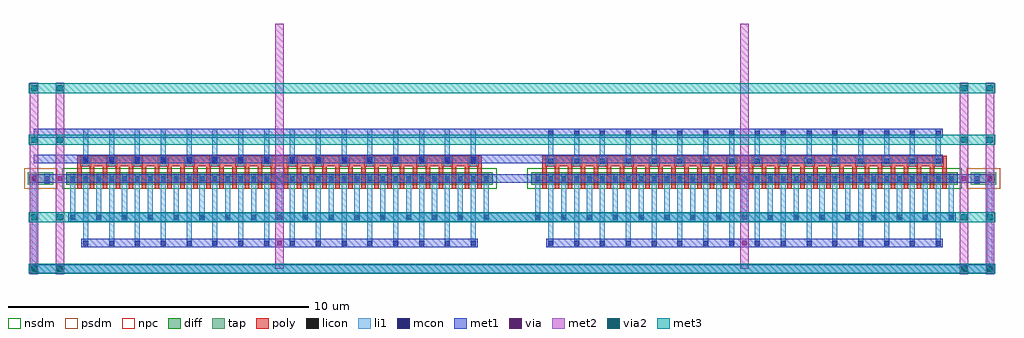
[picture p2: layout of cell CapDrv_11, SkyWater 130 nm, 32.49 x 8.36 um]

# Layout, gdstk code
from math import pi, radians
import gdstk
lib = gdstk.Library(unit=1e-6, precision=1e-09)
def R(c, l, rs):  # rectangles x0, y0, x1, y1
    for r in rs: c.add(gdstk.rectangle(r[:2], r[2:], *l))
def A(c, l, x, y, w, h, nx, ny, dx, dy):  # array of equal rectangles
    R(c, l, [(x+i*dx, y+j*dy, x+i*dx+w, y+j*dy+h) for i in range(nx) for j in range(ny)])
def P(c, l, *ps):  # polygons
    for p in ps: c.add(gdstk.Polygon(p, *l))
diff = (65, 20)
tap = (65, 44)
poly = (66, 20)
licon = (66, 44)
li1 = (67, 20)
mcon = (67, 44)
met1 = (68, 20)
via = (68, 44)
met2 = (69, 20)
via2 = (69, 44)
met3 = (70, 20)
nsdm = (93, 44)
psdm = (94, 20)
npc = (95, 20)

mosend_4 = lib.new_cell('MOSEnd_4')

mosend_14 = lib.new_cell('MOSEnd_14')

mostap = lib.new_cell('MOSTap')
R(mostap, tap, [(-0.205,0.655,0.635,1.075)])
R(mostap, licon, [(-0.085,0.78,0.085,0.95), (0.345,0.78,0.515,0.95)])
R(mostap, li1, [(-0.085,0.7,0.085,1.03), (0.345,0.7,0.515,1.03)])
R(mostap, psdm, [(-0.335,0.525,0.765,1.205)])

mosconn = lib.new_cell('MOSConn')
R(mosconn, diff, [(-0.215,0.655,13.975,1.075)])
A(mosconn, poly, 0.345, 0.115, 0.17, 0.33, 16, 1, 0.86, 0)
P(mosconn, poly, [(13.47,1.205),(13.47,0.455),(13.19,0.455),(13.19,1.205),(13.04,1.205),(13.04,0.455),(12.76,0.455),(12.76,1.205),(12.61,1.205),(12.61,0.455),(12.33,0.455),(12.33,1.205),(12.18,1.205),(12.18,0.455),(11.9,0.455),(11.9,1.205),(11.75,1.205),(11.75,0.455),(11.47,0.455),(11.47,1.205),(11.32,1.205),(11.32,0.455),(11.04,0.455),(11.04,1.205),(10.89,1.205),(10.89,0.455),(10.61,0.455),(10.61,1.205),(10.46,1.205),(10.46,0.455),(10.18,0.455),(10.18,1.205),(10.03,1.205),(10.03,0.455),(9.75,0.455),(9.75,1.205),(9.6,1.205),(9.6,0.455),(9.32,0.455),(9.32,1.205),(9.17,1.205),(9.17,0.455),(8.89,0.455),(8.89,1.205),(8.74,1.205),(8.74,0.455),(8.46,0.455),(8.46,1.205),(8.31,1.205),(8.31,0.455),(8.03,0.455),(8.03,1.205),(7.88,1.205),(7.88,0.455),(7.6,0.455),(7.6,1.205),(7.45,1.205),(7.45,0.455),(7.17,0.455),(7.17,1.205),(7.02,1.205),(7.02,0.455),(6.74,0.455),(6.74,1.205),(6.59,1.205),(6.59,0.455),(6.31,0.455),(6.31,1.205),(6.16,1.205),(6.16,0.455),(5.88,0.455),(5.88,1.205),(5.73,1.205),(5.73,0.455),(5.45,0.455),(5.45,1.205),(5.3,1.205),(5.3,0.455),(5.02,0.455),(5.02,1.205),(4.87,1.205),(4.87,0.455),(4.59,0.455),(4.59,1.205),(4.44,1.205),(4.44,0.455),(4.16,0.455),(4.16,1.205),(4.01,1.205),(4.01,0.455),(3.73,0.455),(3.73,1.205),(3.58,1.205),(3.58,0.455),(3.3,0.455),(3.3,1.205),(3.15,1.205),(3.15,0.455),(2.87,0.455),(2.87,1.205),(2.72,1.205),(2.72,0.455),(2.44,0.455),(2.44,1.205),(2.29,1.205),(2.29,0.455),(2.01,0.455),(2.01,1.205),(1.86,1.205),(1.86,0.455),(1.58,0.455),(1.58,1.205),(1.43,1.205),(1.43,0.455),(1.15,0.455),(1.15,1.205),(1,1.205),(1,0.455),(0.72,0.455),(0.72,1.205),(0.57,1.205),(0.57,0.455),(0.29,0.455),(0.29,1.205),(0.14,1.205),(0.14,0.105),(13.62,0.105),(13.62,1.205)])
A(mosconn, licon, 0.345, 0.195, 0.17, 0.17, 16, 1, 0.86, 0)
A(mosconn, licon, -0.085, 0.78, 0.17, 0.17, 33, 1, 0.43, 0)
A(mosconn, li1, 0.29, 0.145, 0.28, 0.27, 16, 1, 0.86, 0)
A(mosconn, li1, -0.085, 0.7, 0.17, 0.33, 33, 1, 0.43, 0)
P(mosconn, li1, [(0.345,0.445),(0.345,0.415),(0.29,0.415),(0.29,0.145),(0.345,0.145),(0.345,0.115),(0.515,0.115),(0.515,0.145),(0.57,0.145),(0.57,0.415),(0.515,0.415),(0.515,0.445)],
  [(1.205,0.445),(1.205,0.415),(1.15,0.415),(1.15,0.145),(1.205,0.145),(1.205,0.115),(1.375,0.115),(1.375,0.145),(1.43,0.145),(1.43,0.415),(1.375,0.415),(1.375,0.445)],
  [(2.065,0.445),(2.065,0.415),(2.01,0.415),(2.01,0.145),(2.065,0.145),(2.065,0.115),(2.235,0.115),(2.235,0.145),(2.29,0.145),(2.29,0.415),(2.235,0.415),(2.235,0.445)],
  [(2.925,0.445),(2.925,0.415),(2.87,0.415),(2.87,0.145),(2.925,0.145),(2.925,0.115),(3.095,0.115),(3.095,0.145),(3.15,0.145),(3.15,0.415),(3.095,0.415),(3.095,0.445)],
  [(3.785,0.445),(3.785,0.415),(3.73,0.415),(3.73,0.145),(3.785,0.145),(3.785,0.115),(3.955,0.115),(3.955,0.145),(4.01,0.145),(4.01,0.415),(3.955,0.415),(3.955,0.445)],
  [(4.645,0.445),(4.645,0.415),(4.59,0.415),(4.59,0.145),(4.645,0.145),(4.645,0.115),(4.815,0.115),(4.815,0.145),(4.87,0.145),(4.87,0.415),(4.815,0.415),(4.815,0.445)],
  [(5.505,0.445),(5.505,0.415),(5.45,0.415),(5.45,0.145),(5.505,0.145),(5.505,0.115),(5.675,0.115),(5.675,0.145),(5.73,0.145),(5.73,0.415),(5.675,0.415),(5.675,0.445)],
  [(6.365,0.445),(6.365,0.415),(6.31,0.415),(6.31,0.145),(6.365,0.145),(6.365,0.115),(6.535,0.115),(6.535,0.145),(6.59,0.145),(6.59,0.415),(6.535,0.415),(6.535,0.445)],
  [(7.225,0.445),(7.225,0.415),(7.17,0.415),(7.17,0.145),(7.225,0.145),(7.225,0.115),(7.395,0.115),(7.395,0.145),(7.45,0.145),(7.45,0.415),(7.395,0.415),(7.395,0.445)],
  [(8.085,0.445),(8.085,0.415),(8.03,0.415),(8.03,0.145),(8.085,0.145),(8.085,0.115),(8.255,0.115),(8.255,0.145),(8.31,0.145),(8.31,0.415),(8.255,0.415),(8.255,0.445)],
  [(8.945,0.445),(8.945,0.415),(8.89,0.415),(8.89,0.145),(8.945,0.145),(8.945,0.115),(9.115,0.115),(9.115,0.145),(9.17,0.145),(9.17,0.415),(9.115,0.415),(9.115,0.445)],
  [(9.805,0.445),(9.805,0.415),(9.75,0.415),(9.75,0.145),(9.805,0.145),(9.805,0.115),(9.975,0.115),(9.975,0.145),(10.03,0.145),(10.03,0.415),(9.975,0.415),(9.975,0.445)],
  [(10.665,0.445),(10.665,0.415),(10.61,0.415),(10.61,0.145),(10.665,0.145),(10.665,0.115),(10.835,0.115),(10.835,0.145),(10.89,0.145),(10.89,0.415),(10.835,0.415),(10.835,0.445)],
  [(11.525,0.445),(11.525,0.415),(11.47,0.415),(11.47,0.145),(11.525,0.145),(11.525,0.115),(11.695,0.115),(11.695,0.145),(11.75,0.145),(11.75,0.415),(11.695,0.415),(11.695,0.445)],
  [(12.385,0.445),(12.385,0.415),(12.33,0.415),(12.33,0.145),(12.385,0.145),(12.385,0.115),(12.555,0.115),(12.555,0.145),(12.61,0.145),(12.61,0.415),(12.555,0.415),(12.555,0.445)],
  [(13.245,0.445),(13.245,0.415),(13.19,0.415),(13.19,0.145),(13.245,0.145),(13.245,0.115),(13.415,0.115),(13.415,0.145),(13.47,0.145),(13.47,0.415),(13.415,0.415),(13.415,0.445)])
R(mosconn, nsdm, [(-0.345,0.525,14.105,1.205)])
A(mosconn, npc, 0.245, 0.095, 0.37, 0.37, 16, 1, 0.86, 0)

capdrvcore_11 = lib.new_cell('CapDrvCore_11')
A(capdrvcore_11, li1, 1.635, 0.715, 0.17, 2.455, 16, 1, 0.86, 0)
A(capdrvcore_11, li1, 1.635, 0.715, 0.17, 0.29, 16, 2, 0.86, 2.795)
A(capdrvcore_11, li1, 17.115, 0.715, 0.17, 2.455, 16, 1, 0.86, 0)
A(capdrvcore_11, li1, 17.115, 0.715, 0.17, 0.29, 16, 2, 0.86, 3.655)
A(capdrvcore_11, li1, 1.205, 1.575, 0.17, 1.595, 17, 1, 0.86, 0)
A(capdrvcore_11, li1, 1.205, 1.575, 0.17, 0.29, 17, 1, 0.86, 0)
A(capdrvcore_11, li1, 16.685, 1.575, 0.17, 1.595, 17, 1, 0.86, 0)
A(capdrvcore_11, li1, 16.685, 1.575, 0.17, 0.29, 17, 1, 0.86, 0)
A(capdrvcore_11, li1, 1.635, 3.425, 0.17, 1.235, 16, 1, 0.86, 0)
A(capdrvcore_11, li1, 17.115, 3.425, 0.17, 1.235, 16, 1, 0.86, 0)
R(capdrvcore_11, li1, [(-0.085,-0.145,0.085,3.17), (-0.085,-0.145,0.085,0.145), (31.735,-0.145,31.905,3.17), (31.735,-0.145,31.905,0.145), (-0.085,2.865,0.085,3.155), (31.735,2.865,31.905,3.155)])
A(capdrvcore_11, mcon, 1.635, 0.775, 0.17, 0.17, 16, 2, 0.86, 2.795)
A(capdrvcore_11, mcon, 17.115, 0.775, 0.17, 0.17, 16, 2, 0.86, 3.655)
A(capdrvcore_11, mcon, 1.205, 1.635, 0.17, 0.17, 17, 1, 0.86, 0)
A(capdrvcore_11, mcon, 16.685, 1.635, 0.17, 0.17, 17, 1, 0.86, 0)
R(capdrvcore_11, mcon, [(-0.085,-0.085,0.085,0.085), (31.735,-0.085,31.905,0.085), (-0.085,2.925,0.085,3.095), (31.735,2.925,31.905,3.095)])
A(capdrvcore_11, met1, 1.575, 0.715, 0.29, 0.29, 16, 2, 0.86, 2.795)
A(capdrvcore_11, met1, 17.055, 0.715, 0.29, 0.29, 16, 2, 0.86, 3.655)
A(capdrvcore_11, met1, 1.145, 1.575, 0.29, 0.29, 17, 1, 0.86, 0)
A(capdrvcore_11, met1, 16.625, 1.575, 0.29, 0.29, 17, 1, 0.86, 0)
R(capdrvcore_11, met1, [(-0.16,-0.145,31.98,0.145), (-0.16,-0.145,0.16,0.145), (-0.145,-0.145,0.145,0.145), (0.7,-0.145,1.02,0.145), (30.8,-0.145,31.12,0.145), (31.66,-0.145,31.98,0.145), (31.675,-0.145,31.965,0.145), (1.575,0.715,14.765,1.005), (8.01,0.715,8.33,1.005), (17.055,0.715,30.245,1.005), (23.49,0.715,23.81,1.005), (1.145,1.575,30.675,1.865), (-0.16,2.865,31.98,3.155), (-0.16,2.865,0.16,3.155), (-0.145,2.865,0.145,3.155), (0.7,2.865,1.02,3.155), (30.8,2.865,31.12,3.155), (31.66,2.865,31.98,3.155), (31.675,2.865,31.965,3.155), (-0.005,3.51,30.245,3.8), (-0.005,4.37,30.245,4.66)])
R(capdrvcore_11, via, [(-0.075,-0.075,0.075,0.075), (0.785,-0.075,0.935,0.075), (30.885,-0.075,31.035,0.075), (31.745,-0.075,31.895,0.075), (8.095,0.785,8.245,0.935), (23.575,0.785,23.725,0.935), (-0.075,2.935,0.075,3.085), (0.785,2.935,0.935,3.085), (30.885,2.935,31.035,3.085), (31.745,2.935,31.895,3.085)])
R(capdrvcore_11, met2, [(-0.14,-0.185,0.14,6.205), (-0.14,-0.185,0.14,0.185), (0.72,-0.185,1,6.205), (0.72,-0.185,1,0.185), (30.82,-0.185,31.1,6.205), (30.82,-0.185,31.1,0.185), (31.68,-0.185,31.96,6.205), (31.68,-0.185,31.96,0.185), (-0.14,-0.16,0.14,0.16), (0.72,-0.16,1,0.16), (30.82,-0.16,31.1,0.16), (31.68,-0.16,31.96,0.16), (8.03,0,8.31,8.17), (23.51,0,23.79,8.17), (8.03,0.7,8.31,1.02), (23.51,0.7,23.79,1.02), (-0.14,1.535,0.14,1.905), (0.72,1.535,1,1.905), (30.82,1.535,31.1,1.905), (31.68,1.535,31.96,1.905), (-0.14,2.85,0.14,3.17), (0.72,2.85,1,3.17), (30.82,2.85,31.1,3.17), (31.68,2.85,31.96,3.17), (-0.14,4.115,0.14,4.485), (0.72,4.115,1,4.485), (30.82,4.115,31.1,4.485), (31.68,4.115,31.96,4.485), (-0.14,5.835,0.14,6.205), (0.72,5.835,1,6.205), (30.82,5.835,31.1,6.205), (31.68,5.835,31.96,6.205)])
R(capdrvcore_11, via2, [(-0.1,-0.1,0.1,0.1), (0.76,-0.1,0.96,0.1), (30.86,-0.1,31.06,0.1), (31.72,-0.1,31.92,0.1), (-0.1,1.62,0.1,1.82), (0.76,1.62,0.96,1.82), (30.86,1.62,31.06,1.82), (31.72,1.62,31.92,1.82), (-0.1,4.2,0.1,4.4), (0.76,4.2,0.96,4.4), (30.86,4.2,31.06,4.4), (31.72,4.2,31.92,4.4), (-0.1,5.92,0.1,6.12), (0.76,5.92,0.96,6.12), (30.86,5.92,31.06,6.12), (31.72,5.92,31.92,6.12)])
R(capdrvcore_11, met3, [(-0.185,-0.165,32.005,0.165), (-0.185,-0.165,0.185,0.165), (0.675,-0.165,1.045,0.165), (30.775,-0.165,31.145,0.165), (31.635,-0.165,32.005,0.165), (-0.185,1.555,32.005,1.885), (-0.185,1.555,0.185,1.885), (0.675,1.555,1.045,1.885), (30.775,1.555,31.145,1.885), (31.635,1.555,32.005,1.885), (-0.185,4.135,32.005,4.465), (-0.185,4.135,0.185,4.465), (0.675,4.135,1.045,4.465), (30.775,4.135,31.145,4.465), (31.635,4.135,32.005,4.465), (-0.185,5.855,32.005,6.185), (-0.185,5.855,0.185,6.185), (0.675,5.855,1.045,6.185), (30.775,5.855,31.145,6.185), (31.635,5.855,32.005,6.185)])
capdrvcore_11.add(gdstk.Reference(mostap, (0,3.87), x_reflection=True))
capdrvcore_11.add(gdstk.Reference(mosconn, (1.29,3.87), x_reflection=True))
capdrvcore_11.add(gdstk.Reference(mosconn, (16.77,3.87), x_reflection=True))
capdrvcore_11.add(gdstk.Reference(mostap, (31.82,3.87), rotation=pi))

moscorner = lib.new_cell('MOSCorner')

moscorner_10 = lib.new_cell('MOSCorner_10')

mosrowedge = lib.new_cell('MOSRowEdge')

mosspace = lib.new_cell('MOSSpace')

mosspace_1 = lib.new_cell('MOSSpace_1')

mosspace_2 = lib.new_cell('MOSSpace_2')

capdrv_11 = lib.new_cell('CapDrv_11')
capdrv_11.add(gdstk.Reference(mosend_4, (0.86,0)))
capdrv_11.add(gdstk.Reference(mosend_14, (0.86,8.17), x_reflection=True))
capdrv_11.add(gdstk.Reference(capdrvcore_11, (0.86,0)))
capdrv_11.add(gdstk.Reference(moscorner, (0,0)))
capdrv_11.add(gdstk.Reference(moscorner, (33.54,0), rotation=pi, x_reflection=True))
capdrv_11.add(gdstk.Reference(moscorner_10, (0,8.17), x_reflection=True))
capdrv_11.add(gdstk.Reference(moscorner_10, (33.54,8.17), rotation=pi))
capdrv_11.add(gdstk.Reference(mosrowedge, (0,3.87), x_reflection=True))
capdrv_11.add(gdstk.Reference(mosrowedge, (33.54,3.87), rotation=pi))
capdrv_11.add(gdstk.Reference(mosspace, (1.29,3.87), x_reflection=True))
capdrv_11.add(gdstk.Reference(mosspace_1, (15.91,3.87), x_reflection=True))
capdrv_11.add(gdstk.Reference(mosspace_2, (31.39,3.87), x_reflection=True))

lib.write_gds('CapDrv_11.gds')
